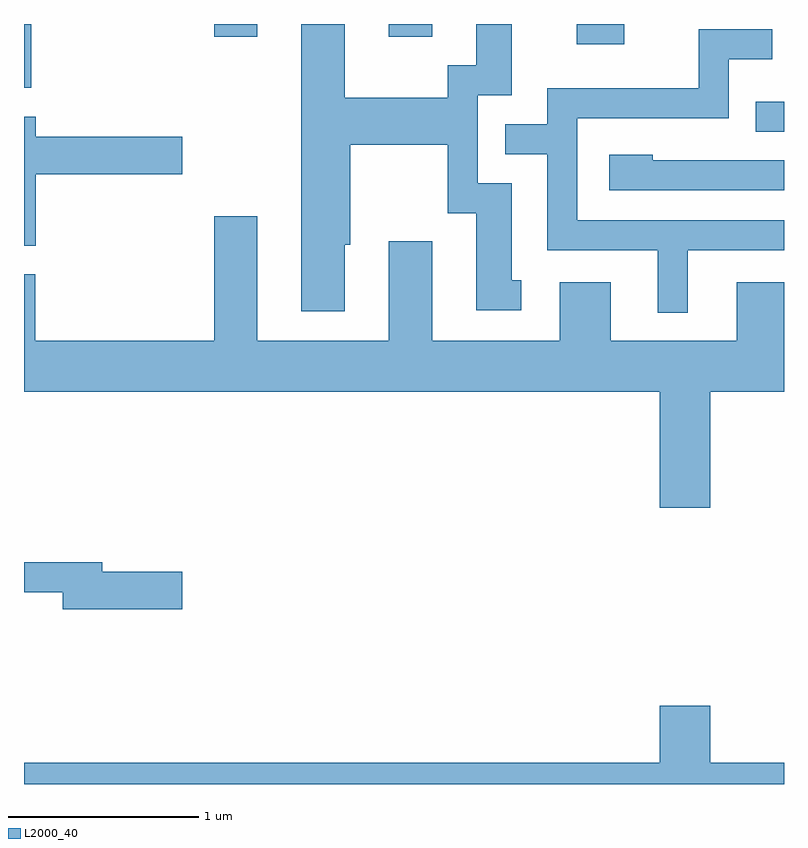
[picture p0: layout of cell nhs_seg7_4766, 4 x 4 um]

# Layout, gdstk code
import gdstk
lib = gdstk.Library(unit=1e-6, precision=1e-09)
def R(c, l, rs):  # rectangles x0, y0, x1, y1
    for r in rs: c.add(gdstk.rectangle(r[:2], r[2:], *l))
def P(c, l, *ps):  # polygons
    for p in ps: c.add(gdstk.Polygon(p, *l))
L2000_40 = (2000, 40)

nhs_seg7_4766 = lib.new_cell('nhs_seg7_4766')
R(nhs_seg7_4766, L2000_40, [(335.463,1715.686,335.611,1715.844), (331.611,1715.916,331.649,1716.252), (334.521,1716.146,334.769,1716.252), (332.611,1716.186,332.839,1716.252), (333.531,1716.186,333.759,1716.252)])
P(nhs_seg7_4766, L2000_40, [(333.299,1715.091),(333.329,1715.091),(333.329,1715.616),(333.841,1715.616),(333.841,1715.256),(333.991,1715.256),(333.991,1714.746),(334.228,1714.746),(334.228,1714.904),(334.179,1714.904),(334.179,1715.414),(333.999,1715.414),(333.999,1715.876),(334.179,1715.876),(334.179,1716.252),(333.991,1716.252),(333.991,1716.034),(333.841,1716.034),(333.841,1715.864),(333.299,1715.864),(333.299,1716.252),(333.071,1716.252),(333.071,1714.741),(333.299,1714.741)],
  [(335.104,1715.061),(335.611,1715.061),(335.611,1715.219),(334.524,1715.219),(334.524,1715.756),(335.319,1715.756),(335.319,1716.066),(335.548,1716.066),(335.548,1716.224),(335.161,1716.224),(335.161,1715.914),(334.366,1715.914),(334.366,1715.724),(334.143,1715.724),(334.143,1715.566),(334.366,1715.566),(334.366,1715.061),(334.946,1715.061),(334.946,1714.733),(335.104,1714.733)],
  [(331.674,1715.461),(332.444,1715.461),(332.444,1715.659),(331.674,1715.659),(331.674,1715.764),(331.611,1715.764),(331.611,1715.086),(331.674,1715.086)],
  [(335.611,1715.534),(334.919,1715.534),(334.919,1715.564),(334.691,1715.564),(334.691,1715.376),(335.611,1715.376)],
  [(335.224,1714.316),(335.611,1714.316),(335.611,1714.894),(335.361,1714.894),(335.361,1714.584),(334.699,1714.584),(334.699,1714.894),(334.431,1714.894),(334.431,1714.584),(333.759,1714.584),(333.759,1715.109),(333.531,1715.109),(333.531,1714.584),(332.839,1714.584),(332.839,1715.239),(332.611,1715.239),(332.611,1714.584),(331.669,1714.584),(331.669,1714.934),(331.611,1714.934),(331.611,1714.316),(334.956,1714.316),(334.956,1713.706),(335.224,1713.706)],
  [(332.444,1713.369),(332.024,1713.369),(332.024,1713.419),(331.611,1713.419),(331.611,1713.261),(331.816,1713.261),(331.816,1713.171),(332.444,1713.171)],
  [(335.611,1712.364),(335.224,1712.364),(335.224,1712.664),(334.956,1712.664),(334.956,1712.364),(331.611,1712.364),(331.611,1712.252),(335.611,1712.252)])

lib.write_gds('nhs_seg7_4766.gds')
